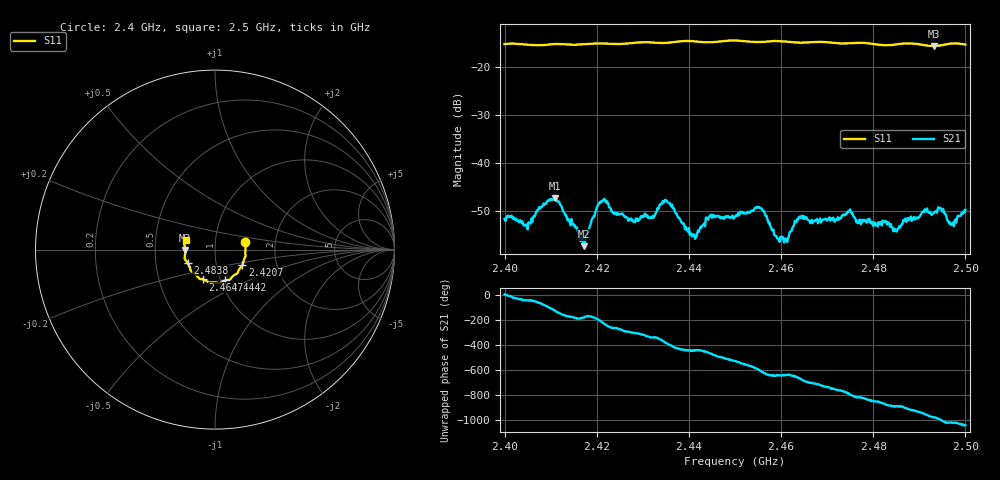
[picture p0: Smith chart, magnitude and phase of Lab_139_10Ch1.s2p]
# Hz S RI R 50
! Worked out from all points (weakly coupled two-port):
!   601 points, 2.4 GHz to 2.5 GHz, reference 50 ohm
!   highest |S21| = -47.28 dB at 2.4108 GHz (marker M1); lowest = -57.2 dB at 2.4172 GHz (marker M2)
!   lowest |S11| = -15.6 dB at 2.4932 GHz (marker M3), VSWR 1.40, Z = 35.8 - j0.113 ohm
!   |S11| at or under -10 dB: start of sweep to end of sweep
!   S12 and S22 are empty: the file has one direction only
!   S11 on the Smith chart (normalised r, x): 2.4 GHz: 1.40, +0.12; 2.4207 GHz: 1.33, -0.24; 2.4442 GHz: 1.05, -0.37; 2.4647 GHz: 0.83, -0.29; 2.4838 GHz: 0.73, -0.11; 2.5 GHz: 0.71, +0.07
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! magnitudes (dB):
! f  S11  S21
! 2.4 GHz  -15.2  -51.6
! 2.4045 GHz  -15.3  -53.0
! 2.4108 GHz  -15.2  -47.3
! 2.4167 GHz  -15.3  -55.6
! 2.4172 GHz  -15.2  -57.2
! 2.4207 GHz  -15.1  -48.1
! 2.4278 GHz  -15.0  -51.9
! 2.4333 GHz  -15.0  -49.5
! 2.4353 GHz  -14.9  -48.0
! 2.4412 GHz  -14.6  -54.8
! 2.4442 GHz  -14.9  -51.7
! 2.45 GHz  -14.5  -51.2
! 2.4553 GHz  -14.8  -49.1
! 2.461 GHz  -14.7  -56.0
! 2.4647 GHz  -14.9  -51.1
! 2.4667 GHz  -14.8  -51.8
! 2.4748 GHz  -15.1  -49.9
! 2.4833 GHz  -15.4  -52.3
! 2.4838 GHz  -15.4  -52.6
! 2.4932 GHz  -15.6  -50.3
! 2.497 GHz  -15.1  -52.6
! 2.5 GHz  -15.3  -49.7
